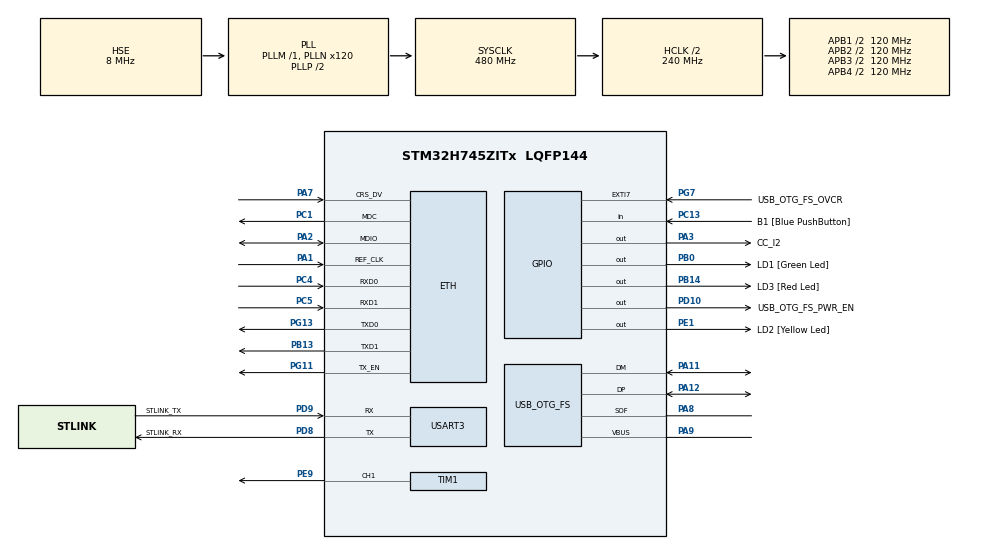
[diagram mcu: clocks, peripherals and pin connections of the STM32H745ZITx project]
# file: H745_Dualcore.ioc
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CortexM4.IPs=FATFS_M4\:I,FREERTOS_M4\:I,IWDG2\:I,RCC,WWDG2\:I,DMA,BDMA,MDMA,NVIC2\:I,USART3,ETH,DEBUG,USB_DEVICE_M4\:I,USB_HOST_M4\:I,PDM2PCM_M4\:I,PWR,RESMGR_UTILITY,SYS_M4\:I,CORTEX_M4\:I,OPENAMP_M4\:I,VREFBUF,GPIO
CortexM4.Pins=PC13,PE1
CortexM7.IPs=FATFS_M7\:I,FREERTOS_M7\:I,IWDG1\:I,RCC\:I,WWDG1\:I,DMA\:I,BDMA\:I,MDMA\:I,NVIC1\:I,SYS\:I,USART3\:I,USB_OTG_FS\:I,ETH\:I,CORTEX_M7\:I,DEBUG\:I,USB_DEVICE_M7\:I,USB_HOST_M7\:I,PDM2PCM_M7\:I,PWR\:I,RESMGR_UTILITY\:I,OPENAMP_M7\:I,VREFBUF\:I,GPIO\:I,TIM1\:I,TIM2\:I
CortexM7.Pins=PA3,PB0,PB14
ETH.MediaInterface=HAL_ETH_RMII_MODE
Mcu.Family=STM32H7
Mcu.Name=STM32H745ZITx
Mcu.Package=LQFP144
NVIC1.PriorityGroup=NVIC_PRIORITYGROUP_4
NVIC1.TIM2_IRQn=true\:0\:0\:false\:false\:true\:true\:true\:true
NVIC2.PriorityGroup=NVIC_PRIORITYGROUP_4
PA1.Mode=RMII
PA1.PinAttribute=CortexM7
PA1.Signal=ETH_REF_CLK
PA11.Mode=Device_Only
PA11.PinAttribute=CortexM7
PA11.Signal=USB_OTG_FS_DM
PA12.Mode=Device_Only
PA12.PinAttribute=CortexM7
PA12.Signal=USB_OTG_FS_DP
PA2.Mode=RMII
PA2.PinAttribute=CortexM7
PA2.Signal=ETH_MDIO
PA3.GPIO_Label=CC_I2
PA3.GPIO_ModeDefaultOutputPP=GPIO_MODE_OUTPUT_OD
PA3.GPIO_PuPd=GPIO_NOPULL
PA3.GPIO_Speed=GPIO_SPEED_FREQ_VERY_HIGH
PA3.PinAttribute=CortexM7
PA3.PinState=GPIO_PIN_RESET
PA3.Signal=GPIO_Output
PA7.Mode=RMII
PA7.PinAttribute=CortexM7
PA7.Signal=ETH_CRS_DV
PA8.Mode=Activate_SOF_FS
PA8.PinAttribute=CortexM7
PA8.Signal=USB_OTG_FS_SOF
PA9.Mode=Activate_VBUS
PA9.PinAttribute=CortexM7
PA9.Signal=USB_OTG_FS_VBUS
PB0.GPIO_Label=LD1 [Green Led]
PB0.PinAttribute=CortexM7
PB0.Signal=GPIO_Output
PB13.Mode=RMII
PB13.PinAttribute=CortexM7
PB13.Signal=ETH_TXD1
PB14.GPIO_Label=LD3 [Red Led]
PB14.PinAttribute=CortexM7
PB14.Signal=GPIO_Output
PC1.Mode=RMII
PC1.PinAttribute=CortexM7
PC1.Signal=ETH_MDC
PC13.GPIO_Label=B1 [Blue PushButton]
PC13.PinAttribute=CortexM4
PC13.Signal=GPIO_Input
PC14-OSC32_IN\ (OSC32_IN).Mode=LSE-External-Oscillator
PC14-OSC32_IN\ (OSC32_IN).PinAttribute=CortexM7
PC14-OSC32_IN\ (OSC32_IN).Signal=RCC_OSC32_IN
PC15-OSC32_OUT\ (OSC32_OUT).Mode=LSE-External-Oscillator
PC15-OSC32_OUT\ (OSC32_OUT).PinAttribute=CortexM7
PC15-OSC32_OUT\ (OSC32_OUT).Signal=RCC_OSC32_OUT
PC4.Mode=RMII
PC4.PinAttribute=CortexM7
PC4.Signal=ETH_RXD0
PC5.Mode=RMII
PC5.PinAttribute=CortexM7
PC5.Signal=ETH_RXD1
PD10.GPIO_Label=USB_OTG_FS_PWR_EN
PD10.PinAttribute=Free
PD10.Signal=GPIO_Output
PD8.GPIO_Label=STLINK_RX
PD8.Mode=Asynchronous
PD8.PinAttribute=CortexM7
PD8.Signal=USART3_TX
PD9.GPIO_Label=STLINK_TX
PD9.Mode=Asynchronous
PD9.PinAttribute=CortexM7
PD9.Signal=USART3_RX
PE1.GPIO_Label=LD2 [Yellow Led]
PE1.PinAttribute=CortexM4
PE1.Signal=GPIO_Output
PE9.GPIO_ModeDefaultPP=GPIO_MODE_AF_OD
PE9.PinAttribute=CortexM7
PE9.Signal=S_TIM1_CH1
PG11.Mode=RMII
PG11.PinAttribute=CortexM7
PG11.Signal=ETH_TX_EN
PG13.Mode=RMII
PG13.PinAttribute=CortexM7
PG13.Signal=ETH_TXD0
PG7.GPIO_Label=USB_OTG_FS_OVCR
PG7.PinAttribute=Free
PG7.Signal=GPXTI7
PH0-OSC_IN\ (PH0).Mode=HSE-External-Clock-Source
PH0-OSC_IN\ (PH0).PinAttribute=CortexM7
PH0-OSC_IN\ (PH0).Signal=RCC_OSC_IN
PH1-OSC_OUT\ (PH1).PinAttribute=CortexM7
PH1-OSC_OUT\ (PH1).Signal=RCC_OSC_OUT
ProjectManager.HeapSize=M4-0x200,M7-0x200
ProjectManager.StackSize=M4-0x400,M7-0x400
ProjectManager.TargetToolchain=STM32CubeIDE
RCC.ADCFreq_Value=16125000
RCC.APB1Freq_Value=120000000
RCC.APB2Freq_Value=120000000
RCC.APB3Freq_Value=120000000
RCC.APB4Freq_Value=120000000
RCC.CortexFreq_Value=480000000
RCC.D1PPRE=RCC_APB3_DIV2
RCC.D2PPRE1=RCC_APB1_DIV2
RCC.D2PPRE2=RCC_APB2_DIV2
RCC.D3PPRE=RCC_APB4_DIV2
RCC.DIVM1=1
RCC.DIVM3=1
RCC.DIVN1=120
RCC.DIVN3=24
RCC.DIVQ3=4
RCC.HCLKFreq_Value=240000000
RCC.HPRE=RCC_HCLK_DIV2
RCC.HSE_VALUE=8000000
RCC.PLL2FRACN=0
RCC.PLL3FRACN=0
RCC.PLLFRACN=0
RCC.SYSCLKFreq_VALUE=480000000
RCC.SYSCLKSource=RCC_SYSCLKSOURCE_PLLCLK
RCC.SupplySource=PWR_DIRECT_SMPS_SUPPLY
RCC.USBCLockSelection=RCC_USBCLKSOURCE_PLL3
RCC.USBFreq_Value=48000000
SH.S_TIM1_CH1.0=TIM1_CH1,PWM Generation1 CH1
TIM1.AutoReloadPreload=TIM_AUTORELOAD_PRELOAD_ENABLE
TIM1.Channel-PWM\ Generation1\ CH1=TIM_CHANNEL_1
TIM1.OCFastMode_PWM-PWM\ Generation1\ CH1=TIM_OCFAST_ENABLE
TIM1.Period=3
TIM1.Prescaler=152
TIM1.Pulse-PWM\ Generation1\ CH1=2
TIM2.Period=4
TIM2.Prescaler=2
USART3.VirtualMode-Asynchronous=VM_ASYNC
USB_OTG_FS.VirtualMode=Device_Only
VP_SYS_M4_VS_Systick.Mode=SysTick
VP_TIM1_VS_ClockSourceINT.Mode=Internal
VP_TIM2_VS_ClockSourceINT.Mode=Internal
board=NUCLEO-H745ZI-Q

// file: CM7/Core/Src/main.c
/* USER CODE BEGIN Header */
/**
  ******************************************************************************
  * @file           : main.c
  * @brief          : Main program body
  ******************************************************************************
  * @attention
  *
  * Copyright (c) 2022 STMicroelectronics.
  * All rights reserved.
  *
  * This software is licensed under terms that can be found in the LICENSE file
  * in the root directory of this software component.
  * If no LICENSE file comes with this software, it is provided AS-IS.
  *
  ******************************************************************************
  */
/* USER CODE END Header */
#include "main.h"
#include "string.h"

/* USER CODE BEGIN Includes */
//// ../ -> jump back to main lobby and access that location
#include "../../../Common/Src/SRAM4.h"
/* USER CODE END Includes */

/* USER CODE BEGIN PD */

#ifndef HSEM_ID_0
#define HSEM_ID_0 (0U) /* HW semaphore 0*/
#endif
/* USER CODE END PD */

#if defined ( __ICCARM__ ) /*!< IAR Compiler */
#pragma location=0x30000000
ETH_DMADescTypeDef  DMARxDscrTab[ETH_RX_DESC_CNT]; /* Ethernet Rx DMA Descriptors */
#pragma location=0x30000200
ETH_DMADescTypeDef  DMATxDscrTab[ETH_TX_DESC_CNT]; /* Ethernet Tx DMA Descriptors */

#elif defined ( __CC_ARM )  /* MDK ARM Compiler */

__attribute__((at(0x30000000))) ETH_DMADescTypeDef  DMARxDscrTab[ETH_RX_DESC_CNT]; /* Ethernet Rx DMA Descriptors */
__attribute__((at(0x30000200))) ETH_DMADescTypeDef  DMATxDscrTab[ETH_TX_DESC_CNT]; /* Ethernet Tx DMA Descriptors */

#elif defined ( __GNUC__ ) /* GNU Compiler */
ETH_DMADescTypeDef DMARxDscrTab[ETH_RX_DESC_CNT] __attribute__((section(".RxDecripSection"))); /* Ethernet Rx DMA Descriptors */
ETH_DMADescTypeDef DMATxDscrTab[ETH_TX_DESC_CNT] __attribute__((section(".TxDecripSection")));   /* Ethernet Tx DMA Descriptors */

#endif

ETH_TxPacketConfig TxConfig;

ETH_HandleTypeDef heth;

TIM_HandleTypeDef htim1;
TIM_HandleTypeDef htim2;

UART_HandleTypeDef huart3;

PCD_HandleTypeDef hpcd_USB_OTG_FS;

/* USER CODE BEGIN PV */
uint32_t timestamp_ld2 = 0;

SharedMem *chk1 = SRAM4;
uint32_t chk2;
/* USER CODE END PV */

void SystemClock_Config(void);
static void MX_GPIO_Init(void);
static void MX_ETH_Init(void);
static void MX_USART3_UART_Init(void);
static void MX_USB_OTG_FS_PCD_Init(void);
static void MX_TIM1_Init(void);
static void MX_TIM2_Init(void);

int main(void)
{
/* USER CODE BEGIN Boot_Mode_Sequence_0 */
  int32_t timeout;
/* USER CODE END Boot_Mode_Sequence_0 */

/* USER CODE BEGIN Boot_Mode_Sequence_1 */
  /* Wait until CPU2 boots and enters in stop mode or timeout*/
  timeout = 0xFFFF;
  while((__HAL_RCC_GET_FLAG(RCC_FLAG_D2CKRDY) != RESET) && (timeout-- > 0));
  if ( timeout < 0 )
  {
  Error_Handler();
  }
/* USER CODE END Boot_Mode_Sequence_1 */
  /* MCU Configuration--------------------------------------------------------*/

  /* Reset of all peripherals, Initializes the Flash interface and the Systick. */
  HAL_Init();

  /* Configure the system clock */
  SystemClock_Config();
/* USER CODE BEGIN Boot_Mode_Sequence_2 */
/* When system initialization is finished, Cortex-M7 will release Cortex-M4 by means of
HSEM notification */
/*HW semaphore Clock enable*/
__HAL_RCC_HSEM_CLK_ENABLE();
/*Take HSEM */
HAL_HSEM_FastTake(HSEM_ID_0);
/*Release HSEM in order to notify the CPU2(CM4)*/
HAL_HSEM_Release(HSEM_ID_0,0);
/* wait until CPU2 wakes up from stop mode */
timeout = 0xFFFF;
while((__HAL_RCC_GET_FLAG(RCC_FLAG_D2CKRDY) == RESET) && (timeout-- > 0));
if ( timeout < 0 )
{
Error_Handler();
}
/* USER CODE END Boot_Mode_Sequence_2 */

  /* Initialize all configured peripherals */
  MX_GPIO_Init();
  MX_ETH_Init();
  MX_USART3_UART_Init();
  MX_USB_OTG_FS_PCD_Init();
  MX_TIM1_Init();
  MX_TIM2_Init();
  /* USER CODE BEGIN 2 */

  HAL_TIM_Base_Start(&htim1);
  HAL_TIM_PWM_Start(&htim1, TIM_CHANNEL_1);

  HAL_TIM_Base_Start_IT(&htim2);
  /* USER CODE END 2 */

  /* Infinite loop */
  while (1)
  {

    /* USER CODE BEGIN 3 */
	  HAL_GPIO_WritePin(LD1_GPIO_Port, LD1_Pin, SRAM4->state1);
	  chk2 = SRAM4->state1;

	  if(HAL_GetTick()-timestamp_ld2 >= 500){
		  timestamp_ld2 = HAL_GetTick();
		  HAL_GPIO_TogglePin(LD3_GPIO_Port, LD3_Pin);
	  }

	  // Semaphore
#ifdef TASK2_NO_HSEM
	  register int i;
	  //// sim write array task
	  for(i = 0; i < 500;i++){

		  //// checkif SRAM4->DATA[i] != SRAM4->DATA[0] unequal
		  //// if unequal -> CM4 is writing while CM7 is reading
		  //// if data not sync -> crash for(;;);
		  if(SRAM4->DATA[i] != SRAM4->DATA[0]){
			  //for(;;);
			  HAL_GPIO_TogglePin(LD1_GPIO_Port, LD1_Pin);
		  }
	  }
	  HAL_Delay(1);
#endif
#ifdef TASK2_WITH_HSEM

	  register int i;

	  //// if semaphore ok -> instantly lock

	  if(HAL_HSEM_Take(5, 8) == HAL_OK){

		  //// Same task as above
		  for(i = 0; i < 500;i++){

		  		  //// checkif SRAM4->DATA[i] != SRAM4->DATA[0] unequal
		  		  //// if unequal -> CM4 is writing while CM7 is reading
		  		  //// if data not sync -> crash for(;;);
		  		  if(SRAM4->DATA[i] != SRAM4->DATA[0]){
		  			  //for(;;);
		  			  HAL_GPIO_TogglePin(LD1_GPIO_Port, LD1_Pin);
		  		  }
		  	  }
	  HAL_HSEM_Release(5, 8);
	  }
	  HAL_Delay(1);
#endif

  }
  /* USER CODE END 3 */
}

void SystemClock_Config(void)
{
  RCC_OscInitTypeDef RCC_OscInitStruct = {0};
  RCC_ClkInitTypeDef RCC_ClkInitStruct = {0};

  /** Supply configuration update enable
  */
  HAL_PWREx_ConfigSupply(PWR_DIRECT_SMPS_SUPPLY);

  /** Configure the main internal regulator output voltage
  */
  __HAL_PWR_VOLTAGESCALING_CONFIG(PWR_REGULATOR_VOLTAGE_SCALE0);

  while(!__HAL_PWR_GET_FLAG(PWR_FLAG_VOSRDY)) {}

  /** Macro to configure the PLL clock source
  */
  __HAL_RCC_PLL_PLLSOURCE_CONFIG(RCC_PLLSOURCE_HSE);

  /** Initializes the RCC Oscillators according to the specified parameters
  * in the RCC_OscInitTypeDef structure.
  */
  RCC_OscInitStruct.OscillatorType = RCC_OSCILLATORTYPE_HSE;
  RCC_OscInitStruct.HSEState = RCC_HSE_BYPASS;
  RCC_OscInitStruct.PLL.PLLState = RCC_PLL_ON;
  RCC_OscInitStruct.PLL.PLLSource = RCC_PLLSOURCE_HSE;
  RCC_OscInitStruct.PLL.PLLM = 1;
  RCC_OscInitStruct.PLL.PLLN = 120;
  RCC_OscInitStruct.PLL.PLLP = 2;
  RCC_OscInitStruct.PLL.PLLQ = 2;
  RCC_OscInitStruct.PLL.PLLR = 2;
  RCC_OscInitStruct.PLL.PLLRGE = RCC_PLL1VCIRANGE_3;
  RCC_OscInitStruct.PLL.PLLVCOSEL = RCC_PLL1VCOWIDE;
  RCC_OscInitStruct.PLL.PLLFRACN = 0;
  if (HAL_RCC_OscConfig(&RCC_OscInitStruct) != HAL_OK)
  {
    Error_Handler();
  }

  /** Initializes the CPU, AHB and APB buses clocks
  */
  RCC_ClkInitStruct.ClockType = RCC_CLOCKTYPE_HCLK|RCC_CLOCKTYPE_SYSCLK
                              |RCC_CLOCKTYPE_PCLK1|RCC_CLOCKTYPE_PCLK2
                              |RCC_CLOCKTYPE_D3PCLK1|RCC_CLOCKTYPE_D1PCLK1;
  RCC_ClkInitStruct.SYSCLKSource = RCC_SYSCLKSOURCE_PLLCLK;
  RCC_ClkInitStruct.SYSCLKDivider = RCC_SYSCLK_DIV1;
  RCC_ClkInitStruct.AHBCLKDivider = RCC_HCLK_DIV2;
  RCC_ClkInitStruct.APB3CLKDivider = RCC_APB3_DIV2;
  RCC_ClkInitStruct.APB1CLKDivider = RCC_APB1_DIV2;
  RCC_ClkInitStruct.APB2CLKDivider = RCC_APB2_DIV2;
  RCC_ClkInitStruct.APB4CLKDivider = RCC_APB4_DIV2;

  if (HAL_RCC_ClockConfig(&RCC_ClkInitStruct, FLASH_LATENCY_4) != HAL_OK)
  {
    Error_Handler();
  }
}

static void MX_ETH_Init(void)
{

   static uint8_t MACAddr[6];

  heth.Instance = ETH;
  MACAddr[0] = 0x00;
  MACAddr[1] = 0x80;
  MACAddr[2] = 0xE1;
  MACAddr[3] = 0x00;
  MACAddr[4] = 0x00;
  MACAddr[5] = 0x00;
  heth.Init.MACAddr = &MACAddr[0];
  heth.Init.MediaInterface = HAL_ETH_RMII_MODE;
  heth.Init.TxDesc = DMATxDscrTab;
  heth.Init.RxDesc = DMARxDscrTab;
  heth.Init.RxBuffLen = 1524;

  if (HAL_ETH_Init(&heth) != HAL_OK)
  {
    Error_Handler();
  }

  memset(&TxConfig, 0 , sizeof(ETH_TxPacketConfig));
  TxConfig.Attributes = ETH_TX_PACKETS_FEATURES_CSUM | ETH_TX_PACKETS_FEATURES_CRCPAD;
  TxConfig.ChecksumCtrl = ETH_CHECKSUM_IPHDR_PAYLOAD_INSERT_PHDR_CALC;
  TxConfig.CRCPadCtrl = ETH_CRC_PAD_INSERT;

}

static void MX_TIM1_Init(void)
{

  TIM_ClockConfigTypeDef sClockSourceConfig = {0};
  TIM_MasterConfigTypeDef sMasterConfig = {0};
  TIM_OC_InitTypeDef sConfigOC = {0};
  TIM_BreakDeadTimeConfigTypeDef sBreakDeadTimeConfig = {0};

  htim1.Instance = TIM1;
  htim1.Init.Prescaler = 152;
  htim1.Init.CounterMode = TIM_COUNTERMODE_UP;
  htim1.Init.Period = 3;
  htim1.Init.ClockDivision = TIM_CLOCKDIVISION_DIV1;
  htim1.Init.RepetitionCounter = 0;
  htim1.Init.AutoReloadPreload = TIM_AUTORELOAD_PRELOAD_ENABLE;
  if (HAL_TIM_Base_Init(&htim1) != HAL_OK)
  {
    Error_Handler();
  }
  sClockSourceConfig.ClockSource = TIM_CLOCKSOURCE_INTERNAL;
  if (HAL_TIM_ConfigClockSource(&htim1, &sClockSourceConfig) != HAL_OK)
  {
    Error_Handler();
  }
  if (HAL_TIM_PWM_Init(&htim1) != HAL_OK)
  {
    Error_Handler();
  }
  sMasterConfig.MasterOutputTrigger = TIM_TRGO_RESET;
  sMasterConfig.MasterOutputTrigger2 = TIM_TRGO2_RESET;
  sMasterConfig.MasterSlaveMode = TIM_MASTERSLAVEMODE_DISABLE;
  if (HAL_TIMEx_MasterConfigSynchronization(&htim1, &sMasterConfig) != HAL_OK)
  {
    Error_Handler();
  }
  sConfigOC.OCMode = TIM_OCMODE_PWM1;
  sConfigOC.Pulse = 2;
  sConfigOC.OCPolarity = TIM_OCPOLARITY_HIGH;
  sConfigOC.OCNPolarity = TIM_OCNPOLARITY_HIGH;
  sConfigOC.OCFastMode = TIM_OCFAST_ENABLE;
  sConfigOC.OCIdleState = TIM_OCIDLESTATE_RESET;
  sConfigOC.OCNIdleState = TIM_OCNIDLESTATE_RESET;
  if (HAL_TIM_PWM_ConfigChannel(&htim1, &sConfigOC, TIM_CHANNEL_1) != HAL_OK)
  {
    Error_Handler();
  }
  sBreakDeadTimeConfig.OffStateRunMode = TIM_OSSR_DISABLE;
  sBreakDeadTimeConfig.OffStateIDLEMode = TIM_OSSI_DISABLE;
  sBreakDeadTimeConfig.LockLevel = TIM_LOCKLEVEL_OFF;
  sBreakDeadTimeConfig.DeadTime = 0;
  sBreakDeadTimeConfig.BreakState = TIM_BREAK_DISABLE;
  sBreakDeadTimeConfig.BreakPolarity = TIM_BREAKPOLARITY_HIGH;
  sBreakDeadTimeConfig.BreakFilter = 0;
  sBreakDeadTimeConfig.Break2State = TIM_BREAK2_DISABLE;
  sBreakDeadTimeConfig.Break2Polarity = TIM_BREAK2POLARITY_HIGH;
  sBreakDeadTimeConfig.Break2Filter = 0;
  sBreakDeadTimeConfig.AutomaticOutput = TIM_AUTOMATICOUTPUT_DISABLE;
  if (HAL_TIMEx_ConfigBreakDeadTime(&htim1, &sBreakDeadTimeConfig) != HAL_OK)
  {
    Error_Handler();
  }
  HAL_TIM_MspPostInit(&htim1);

}

static void MX_TIM2_Init(void)
{

  TIM_ClockConfigTypeDef sClockSourceConfig = {0};
  TIM_MasterConfigTypeDef sMasterConfig = {0};

  htim2.Instance = TIM2;
  htim2.Init.Prescaler = 2;
  htim2.Init.CounterMode = TIM_COUNTERMODE_UP;
  htim2.Init.Period = 4;
  htim2.Init.ClockDivision = TIM_CLOCKDIVISION_DIV1;
  htim2.Init.AutoReloadPreload = TIM_AUTORELOAD_PRELOAD_DISABLE;
  if (HAL_TIM_Base_Init(&htim2) != HAL_OK)
  {
    Error_Handler();
  }
  sClockSourceConfig.ClockSource = TIM_CLOCKSOURCE_INTERNAL;
  if (HAL_TIM_ConfigClockSource(&htim2, &sClockSourceConfig) != HAL_OK)
  {
    Error_Handler();
  }
  sMasterConfig.MasterOutputTrigger = TIM_TRGO_RESET;
  sMasterConfig.MasterSlaveMode = TIM_MASTERSLAVEMODE_DISABLE;
  if (HAL_TIMEx_MasterConfigSynchronization(&htim2, &sMasterConfig) != HAL_OK)
  {
    Error_Handler();
  }

}

static void MX_USART3_UART_Init(void)
{

  huart3.Instance = USART3;
  huart3.Init.BaudRate = 115200;
  huart3.Init.WordLength = UART_WORDLENGTH_8B;
  huart3.Init.StopBits = UART_STOPBITS_1;
  huart3.Init.Parity = UART_PARITY_NONE;
  huart3.Init.Mode = UART_MODE_TX_RX;
  huart3.Init.HwFlowCtl = UART_HWCONTROL_NONE;
  huart3.Init.OverSampling = UART_OVERSAMPLING_16;
  huart3.Init.OneBitSampling = UART_ONE_BIT_SAMPLE_DISABLE;
  huart3.Init.ClockPrescaler = UART_PRESCALER_DIV1;
  huart3.AdvancedInit.AdvFeatureInit = UART_ADVFEATURE_NO_INIT;
  if (HAL_UART_Init(&huart3) != HAL_OK)
  {
    Error_Handler();
  }
  if (HAL_UARTEx_SetTxFifoThreshold(&huart3, UART_TXFIFO_THRESHOLD_1_8) != HAL_OK)
  {
    Error_Handler();
  }
  if (HAL_UARTEx_SetRxFifoThreshold(&huart3, UART_RXFIFO_THRESHOLD_1_8) != HAL_OK)
  {
    Error_Handler();
  }
  if (HAL_UARTEx_DisableFifoMode(&huart3) != HAL_OK)
  {
    Error_Handler();
  }

}

static void MX_USB_OTG_FS_PCD_Init(void)
{

  hpcd_USB_OTG_FS.Instance = USB_OTG_FS;
  hpcd_USB_OTG_FS.Init.dev_endpoints = 9;
  hpcd_USB_OTG_FS.Init.speed = PCD_SPEED_FULL;
  hpcd_USB_OTG_FS.Init.dma_enable = DISABLE;
  hpcd_USB_OTG_FS.Init.phy_itface = PCD_PHY_EMBEDDED;
  hpcd_USB_OTG_FS.Init.Sof_enable = DISABLE;
  hpcd_USB_OTG_FS.Init.low_power_enable = DISABLE;
  hpcd_USB_OTG_FS.Init.lpm_enable = DISABLE;
  hpcd_USB_OTG_FS.Init.battery_charging_enable = ENABLE;
  hpcd_USB_OTG_FS.Init.vbus_sensing_enable = ENABLE;
  hpcd_USB_OTG_FS.Init.use_dedicated_ep1 = DISABLE;
  if (HAL_PCD_Init(&hpcd_USB_OTG_FS) != HAL_OK)
  {
    Error_Handler();
  }

}

static void MX_GPIO_Init(void)
{
  GPIO_InitTypeDef GPIO_InitStruct = {0};

  /* GPIO Ports Clock Enable */
  __HAL_RCC_GPIOC_CLK_ENABLE();
  __HAL_RCC_GPIOH_CLK_ENABLE();
  __HAL_RCC_GPIOA_CLK_ENABLE();
  __HAL_RCC_GPIOB_CLK_ENABLE();
  __HAL_RCC_GPIOE_CLK_ENABLE();
  __HAL_RCC_GPIOD_CLK_ENABLE();
  __HAL_RCC_GPIOG_CLK_ENABLE();

  /*Configure GPIO pin Output Level */
  HAL_GPIO_WritePin(CC_I2_GPIO_Port, CC_I2_Pin, GPIO_PIN_RESET);

  /*Configure GPIO pin Output Level */
  HAL_GPIO_WritePin(GPIOB, LD1_Pin|LD3_Pin, GPIO_PIN_RESET);

  /*Configure GPIO pin : CC_I2_Pin */
  GPIO_InitStruct.Pin = CC_I2_Pin;
  GPIO_InitStruct.Mode = GPIO_MODE_OUTPUT_OD;
  GPIO_InitStruct.Pull = GPIO_NOPULL;
  GPIO_InitStruct.Speed = GPIO_SPEED_FREQ_VERY_HIGH;
  HAL_GPIO_Init(CC_I2_GPIO_Port, &GPIO_InitStruct);

  /*Configure GPIO pins : LD1_Pin LD3_Pin */
  GPIO_InitStruct.Pin = LD1_Pin|LD3_Pin;
  GPIO_InitStruct.Mode = GPIO_MODE_OUTPUT_PP;
  GPIO_InitStruct.Pull = GPIO_NOPULL;
  GPIO_InitStruct.Speed = GPIO_SPEED_FREQ_LOW;
  HAL_GPIO_Init(GPIOB, &GPIO_InitStruct);

}

/* USER CODE BEGIN 4 */
void HAL_TIM_PeriodElapsedCallback(TIM_HandleTypeDef *htim)
{
	if (htim == &htim2){
		HAL_GPIO_TogglePin(CC_I2_GPIO_Port, CC_I2_Pin);
	}
}
/* USER CODE END 4 */

void Error_Handler(void)
{
  __disable_irq();
  while (1)
  {
  }
}
